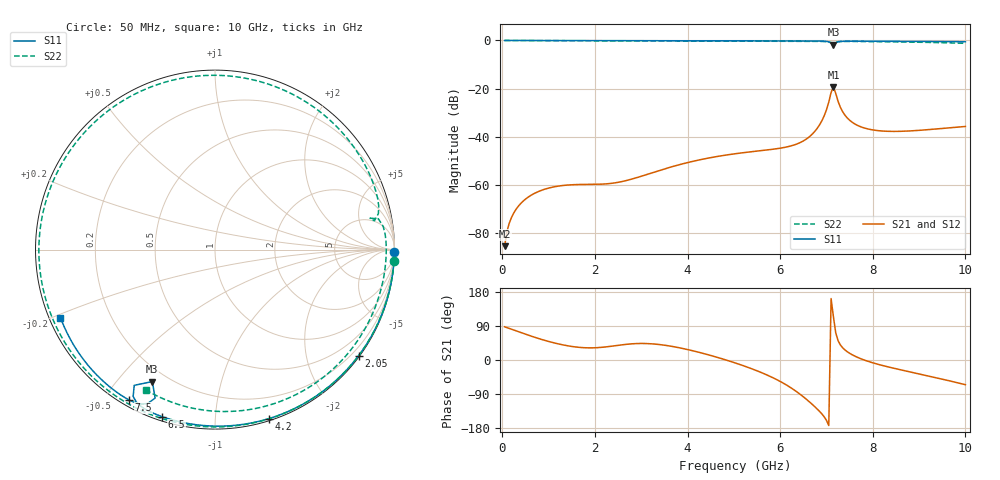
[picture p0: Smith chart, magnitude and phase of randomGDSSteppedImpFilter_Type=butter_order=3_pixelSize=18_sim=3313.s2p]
! freq	dB(S11)	phase(S11)	dB(S12)	phase(S12)
!  dB(S21)	phase(S21)	dB(S22)	phase(S22)
!S-par simulation data
#  GHz  S  DB  R 50
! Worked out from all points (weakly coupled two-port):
!   200 points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, 50 MHz to 10 GHz, reference 50 ohm
!   highest |S21| = -19.29 dB at 7.15 GHz (marker M1); lowest = -85.4 dB at 50 MHz (marker M2)
!   lowest |S11| = -1.8 dB at 7.15 GHz (marker M3), VSWR 9.74, Z = 7.15 - j31.1 ohm
!   |S11| at or under -10 dB: nowhere
!   |S22| runs from -1.2 to 0.0 dB; largest |S21 - S12| = 0
!   S11 on the Smith chart (normalised r, x): 50 MHz: open; 2.05 GHz: 0.03, -3.04; 4.2 GHz: 0.02, -1.37; 6.5 GHz: 0.02, -0.73; 7.5 GHz: 0.02, -0.58; 10 GHz: 0.03, -0.21
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0.05  -0.00 -0.9  -85.36 87.6  -85.36 87.6  -0.00 -3.6
0.3  -0.01 -5.4  -69.98 76.7  -69.98 76.7  -0.03 -21.6
0.6  -0.01 -10.8  -64.49 63.9  -64.49 63.9  -0.05 -42.5
1.15  -0.03 -20.7  -60.62 44.2  -60.62 44.2  -0.09 -78.5
1.75  -0.04 -31.3  -59.74 32.6  -59.74 32.6  -0.12 -113.1
2.05  -0.05 -36.5  -59.69 32.5  -59.69 32.5  -0.13 -128.8
2.7  -0.06 -47.6  -58.03 41.7  -58.03 41.7  -0.15 -160.0
3.4  -0.08 -59.3  -53.90 40.7  -53.90 40.7  -0.17 169.4
4.2  -0.10 -72.2  -49.79 21.8  -49.79 21.8  -0.20 135.9
5.05  -0.13 -85.6  -46.95 -8.6  -46.95 -8.6  -0.24 100.3
5.75  -0.16 -96.2  -45.36 -41.4  -45.36 -41.4  -0.28 70.5
6.5  -0.21 -107.7  -41.70 -97.0  -41.70 -97.0  -0.34 37.8
6.7  -0.23 -110.9  -38.74 -117.8  -38.74 -117.8  -0.36 28.9
6.95  -0.32 -115.9  -31.32 -149.8  -31.32 -149.8  -0.45 17.4
7.1  -1.11 -120.7  -21.59 162.1  -21.59 162.1  -0.89 10.3
7.15  -1.79 -115.4  -19.29 114.3  -19.29 114.3  -1.10 11.4
7.3  -0.43 -115.3  -27.71 39.8  -27.71 39.8  -0.43 5.1
7.5  -0.31 -119.7  -33.10 17.7  -33.10 17.7  -0.41 -4.4
7.85  -0.31 -125.3  -36.51 -1.6  -36.51 -1.6  -0.46 -19.8
8.35  -0.35 -132.7  -37.72 -18.8  -37.72 -18.8  -0.56 -41.2
9.2  -0.44 -144.8  -37.01 -42.1  -37.01 -42.1  -0.80 -78.0
10  -0.53 -156.3  -35.69 -65.2  -35.69 -65.2  -1.20 -116.2
